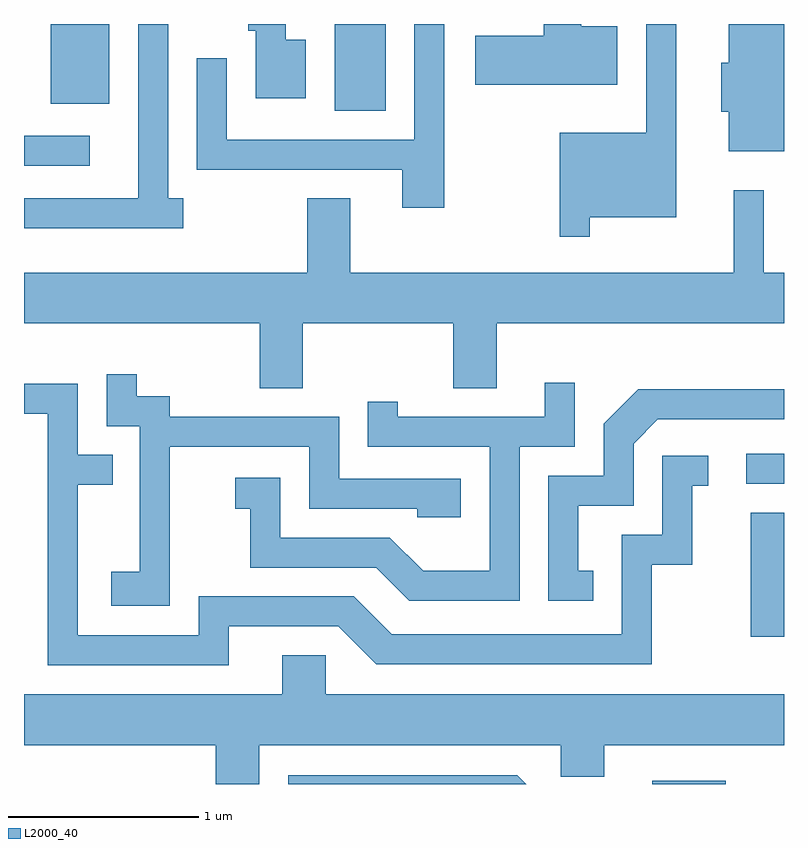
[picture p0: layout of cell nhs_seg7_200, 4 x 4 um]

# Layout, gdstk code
import gdstk
lib = gdstk.Library(unit=1e-6, precision=1e-09)
def R(c, l, rs):  # rectangles x0, y0, x1, y1
    for r in rs: c.add(gdstk.rectangle(r[:2], r[2:], *l))
def P(c, l, *ps):  # polygons
    for p in ps: c.add(gdstk.Polygon(p, *l))
L2000_40 = (2000, 40)

nhs_seg7_200 = lib.new_cell('nhs_seg7_200')
R(nhs_seg7_200, L2000_40, [(192.918,1796.252,193.304,1796.269), (193.436,1797.026,193.611,1797.679), (193.413,1797.831,193.611,1797.989), (189.611,1799.506,189.958,1799.664), (191.246,1799.796,191.514,1800.252), (189.751,1799.831,190.059,1800.252)])
P(nhs_seg7_200, L2000_40, [(193.611,1800.252),(193.321,1800.252),(193.321,1800.049),(193.281,1800.049),(193.281,1799.791),(193.321,1799.791),(193.321,1799.581),(193.611,1799.581)],
  [(191.094,1800.169),(190.989,1800.169),(190.989,1800.252),(190.791,1800.252),(190.791,1800.216),(190.831,1800.216),(190.831,1799.861),(191.094,1799.861)],
  [(192.734,1800.239),(192.544,1800.239),(192.544,1800.252),(192.346,1800.252),(192.346,1800.189),(191.986,1800.189),(191.986,1799.931),(192.734,1799.931)],
  [(192.589,1799.236),(193.044,1799.236),(193.044,1800.252),(192.886,1800.252),(192.886,1799.679),(192.431,1799.679),(192.431,1799.133),(192.589,1799.133)],
  [(190.448,1799.334),(190.369,1799.334),(190.369,1800.252),(190.211,1800.252),(190.211,1799.334),(189.611,1799.334),(189.611,1799.176),(190.448,1799.176)],
  [(191.824,1800.252),(191.666,1800.252),(191.666,1799.644),(190.679,1799.644),(190.679,1800.073),(190.521,1800.073),(190.521,1799.486),(191.601,1799.486),(191.601,1799.286),(191.824,1799.286)],
  [(191.079,1798.676),(191.871,1798.676),(191.871,1798.336),(192.099,1798.336),(192.099,1798.676),(193.611,1798.676),(193.611,1798.944),(193.504,1798.944),(193.504,1799.378),(193.346,1799.378),(193.346,1798.944),(191.329,1798.944),(191.329,1799.334),(191.101,1799.334),(191.101,1798.944),(189.611,1798.944),(189.611,1798.676),(190.851,1798.676),(190.851,1798.336),(191.079,1798.336)],
  [(190.379,1798.026),(191.111,1798.026),(191.111,1797.701),(191.681,1797.701),(191.681,1797.656),(191.909,1797.656),(191.909,1797.859),(191.269,1797.859),(191.269,1798.184),(190.379,1798.184),(190.379,1798.294),(190.204,1798.294),(190.204,1798.408),(190.046,1798.408),(190.046,1798.136),(190.221,1798.136),(190.221,1797.369),(190.071,1797.369),(190.071,1797.191),(190.379,1797.191)],
  [(192.219,1798.026),(192.509,1798.026),(192.509,1798.363),(192.351,1798.363),(192.351,1798.184),(191.579,1798.184),(191.579,1798.263),(191.421,1798.263),(191.421,1798.026),(192.061,1798.026),(192.061,1797.374),(191.712,1797.374),(191.537,1797.549),(190.959,1797.549),(190.959,1797.864),(190.723,1797.864),(190.723,1797.701),(190.801,1797.701),(190.801,1797.391),(191.464,1797.391),(191.639,1797.216),(192.219,1797.216)],
  [(190.689,1797.081),(191.264,1797.081),(191.464,1796.881),(192.914,1796.881),(192.914,1797.406),(193.129,1797.406),(193.129,1797.821),(193.213,1797.821),(193.213,1797.979),(192.971,1797.979),(192.971,1797.564),(192.756,1797.564),(192.756,1797.039),(191.547,1797.039),(191.347,1797.239),(190.531,1797.239),(190.531,1797.034),(189.894,1797.034),(189.894,1797.826),(190.078,1797.826),(190.078,1797.984),(189.894,1797.984),(189.894,1798.359),(189.611,1798.359),(189.611,1798.201),(189.736,1798.201),(189.736,1796.876),(190.689,1796.876)],
  [(192.608,1797.374),(192.529,1797.374),(192.529,1797.716),(192.819,1797.716),(192.819,1798.044),(192.947,1798.171),(193.611,1798.171),(193.611,1798.329),(192.844,1798.329),(192.661,1798.147),(192.661,1797.874),(192.371,1797.874),(192.371,1797.216),(192.608,1797.216)],
  [(190.849,1796.456),(192.436,1796.456),(192.436,1796.291),(192.664,1796.291),(192.664,1796.456),(193.611,1796.456),(193.611,1796.724),(191.199,1796.724),(191.199,1796.929),(190.971,1796.929),(190.971,1796.724),(189.611,1796.724),(189.611,1796.456),(190.621,1796.456),(190.621,1796.252),(190.849,1796.252)],
  [(192.207,1796.299),(191.001,1796.299),(191.001,1796.252),(192.254,1796.252)])

lib.write_gds('nhs_seg7_200.gds')
